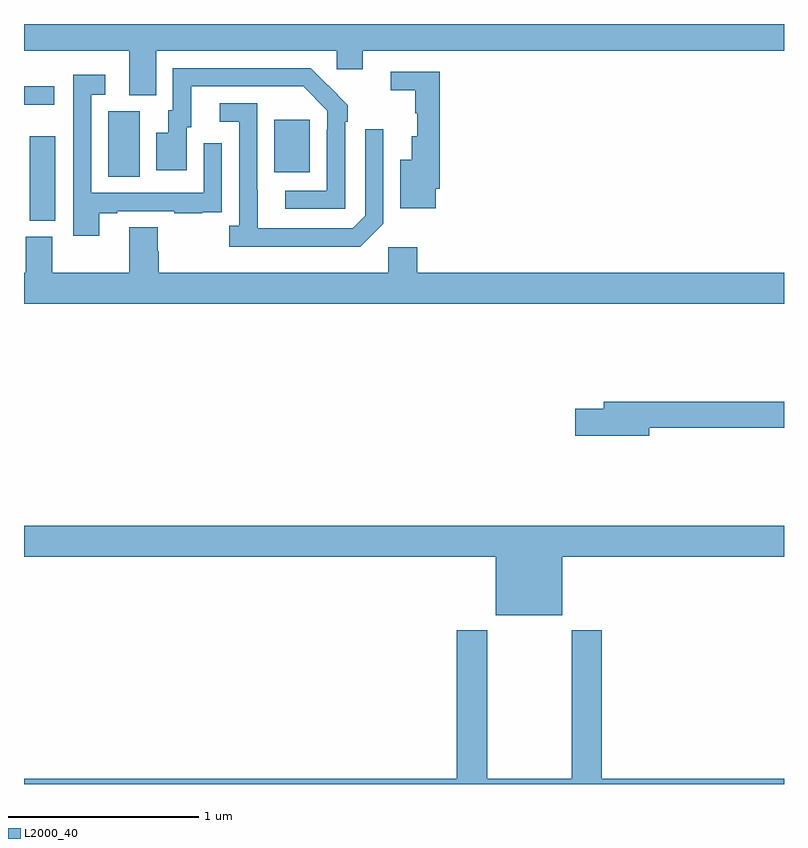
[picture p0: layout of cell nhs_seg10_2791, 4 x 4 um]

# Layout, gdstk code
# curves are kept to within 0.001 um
import gdstk
lib = gdstk.Library(unit=1e-6, precision=1e-09)
def R(c, l, rs):  # rectangles x0, y0, x1, y1
    for r in rs: c.add(gdstk.rectangle(r[:2], r[2:], *l))
def P(c, l, *ps):  # polygons
    for p in ps: c.add(gdstk.Polygon(p, *l))
L2000_40 = (2000, 40)

nhs_seg10_2791 = lib.new_cell('nhs_seg10_2791')
R(nhs_seg10_2791, L2000_40, [(263.03,1255.465,263.164,1255.909), (263.444,1255.696,263.608,1256.04), (264.317,1255.721,264.505,1255.996), (263,1256.076,263.158,1256.172)])
P(nhs_seg10_2791, L2000_40, [(263,1256.36),(263.555,1256.36),(263.555,1256.125),(263.695,1256.125),(263.695,1256.36),(264.645,1256.36),(264.645,1256.262),(264.784,1256.262),(264.784,1256.36),(267,1256.36),(267,1256.5),(263,1256.5)],
  [(264.69,1255.985),(264.705,1255.985),(264.705,1256.073),(264.508,1256.268),(263.784,1256.268),(263.784,1256.046),(263.759,1256.046),(263.759,1255.927),(263.696,1255.927),(263.696,1255.731),(263.857,1255.731),(263.857,1255.956),(263.881,1255.956),(263.881,1256.172),(264.469,1256.172),(264.597,1256.043),(264.597,1255.943),(264.594,1255.943),(264.594,1255.623),(264.375,1255.623),(264.375,1255.527),(264.69,1255.527)],
  [(265.168,1255.633),(265.187,1255.633),(265.187,1256.25),(264.93,1256.25),(264.93,1256.152),(265.059,1256.152),(265.059,1256.031),(265.07,1256.031),(265.07,1255.909),(265.04,1255.909),(265.04,1255.786),(264.98,1255.786),(264.98,1255.529),(265.168,1255.529)],
  [(263.395,1255.503),(263.491,1255.503),(263.491,1255.515),(263.791,1255.515),(263.791,1255.503),(263.939,1255.503),(263.939,1255.509),(264.041,1255.509),(264.041,1255.618),(264.042,1255.618),(264.042,1255.873),(263.946,1255.873),(263.946,1255.611),(263.355,1255.611),(263.355,1256.127),(263.428,1256.127),(263.428,1256.233),(263.259,1256.233),(263.259,1255.386),(263.395,1255.386)],
  [(264.891,1255.449),(264.891,1255.945),(264.795,1255.945),(264.795,1255.491),(264.729,1255.425),(264.229,1255.425),(264.228,1256.082),(264.03,1256.082),(264.03,1255.986),(264.132,1255.986),(264.132,1255.438),(264.081,1255.438),(264.081,1255.328),(264.77,1255.328)],
  [(267,1255.192),(265.07,1255.192),(265.07,1255.324),(264.918,1255.324),(264.918,1255.192),(263.708,1255.192),(263.708,1255.305),(263.703,1255.305),(263.703,1255.43),(263.555,1255.43),(263.555,1255.192),(263.149,1255.192),(263.149,1255.38),(263.009,1255.38),(263.009,1255.192),(263,1255.192),(263,1255.028),(267,1255.028)],
  [(266.29,1254.376),(267,1254.376),(267,1254.512),(266.051,1254.512),(266.051,1254.476),(265.902,1254.476),(265.902,1254.334),(266.29,1254.334)],
  [(265.834,1253.696),(267,1253.696),(267,1253.86),(263,1253.86),(263,1253.696),(265.484,1253.696),(265.484,1253.387),(265.834,1253.387)],
  [(267,1252.528),(266.042,1252.528),(266.042,1253.308),(265.882,1253.308),(265.882,1252.528),(265.437,1252.528),(265.437,1253.308),(265.277,1253.308),(265.277,1252.528),(263,1252.528),(263,1252.5),(267,1252.5)])

lib.write_gds('nhs_seg10_2791.gds')
